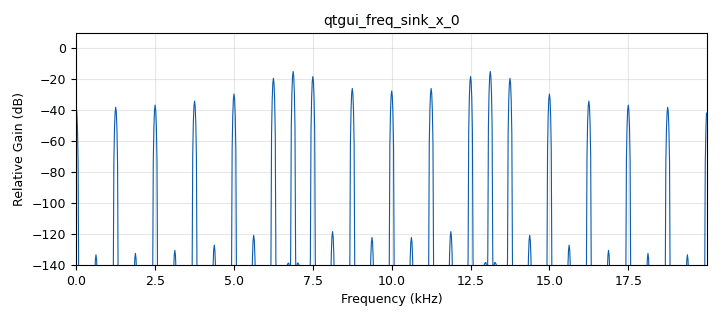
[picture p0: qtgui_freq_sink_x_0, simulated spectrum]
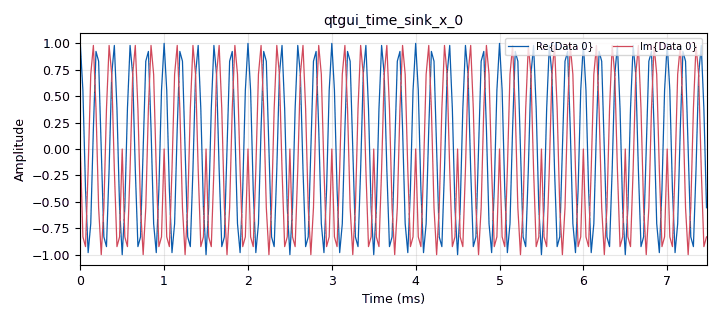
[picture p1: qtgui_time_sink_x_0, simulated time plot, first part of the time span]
options:
  parameters:
    author: matia
    generate_options: qt_gui
    id: lab
    output_language: python
    title: Not titled yet
  states: {}

blocks:
- name: samp_rate
  id: variable
  parameters:
    value: '32000'
  states: {}
- name: analog_sig_source_x_0
  id: analog_sig_source_x
  parameters:
    amp: '1'
    freq: '1000'
    offset: '0'
    phase: '0'
    samp_rate: samp_rate
    type: float
    waveform: analog.GR_SQR_WAVE
  states: {}
- name: blocks_add_const_vxx_0
  id: blocks_add_const_vxx
  parameters:
    const: '-1'
    type: float
  states: {}
- name: blocks_multiply_const_vxx_0
  id: blocks_multiply_const_vxx
  parameters:
    const: '2'
    type: float
  states: {}
- name: blocks_vco_c_0
  id: blocks_vco_c
  parameters:
    amplitude: '1'
    samp_rate: '32000'
    sensitivity: '31416'
  states: {}
- name: qtgui_freq_sink_x_0
  id: qtgui_freq_sink_x
  parameters:
    bw: '20000'
    fc: '10000'
    fftsize: '1024'
    type: complex
  states: {}
- name: qtgui_time_sink_x_0
  id: qtgui_time_sink_x
  parameters:
    autoscale: 'True'
    size: '1024'
    srate: samp_rate
    type: complex
  states: {}

connections:
- [analog_sig_source_x_0, '0', blocks_multiply_const_vxx_0, '0']
- [blocks_add_const_vxx_0, '0', blocks_vco_c_0, '0']
- [blocks_multiply_const_vxx_0, '0', blocks_add_const_vxx_0, '0']
- [blocks_vco_c_0, '0', qtgui_freq_sink_x_0, '0']
- [blocks_vco_c_0, '0', qtgui_time_sink_x_0, '0']

metadata:
  file_format: 1
  grc_version: 3.10.12.0
